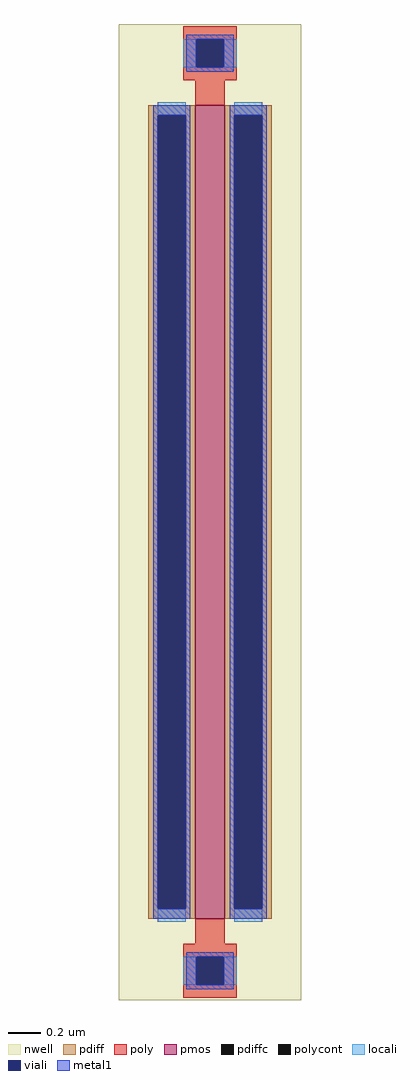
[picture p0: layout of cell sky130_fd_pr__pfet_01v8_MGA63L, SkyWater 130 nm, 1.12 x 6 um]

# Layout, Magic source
magic
tech sky130A
magscale 1 2
<< nwell >>
rect -112 -600 112 600
<< pmos >>
rect -18 -500 18 500
<< pdiff >>
rect -76 488 -18 500
rect -76 -488 -64 488
rect -30 -488 -18 488
rect -76 -500 -18 -488
rect 18 488 76 500
rect 18 -488 30 488
rect 64 -488 76 488
rect 18 -500 76 -488
<< pdiffc >>
rect -64 -488 -30 488
rect 30 -488 64 488
<< poly >>
rect -33 581 33 597
rect -33 547 -17 581
rect 17 547 33 581
rect -33 531 33 547
rect -18 500 18 531
rect -18 -531 18 -500
rect -33 -547 33 -531
rect -33 -581 -17 -547
rect 17 -581 33 -547
rect -33 -597 33 -581
<< polycont >>
rect -17 547 17 581
rect -17 -581 17 -547
<< locali >>
rect -33 547 -17 581
rect 17 547 33 581
rect -64 488 -30 504
rect -64 -504 -30 -488
rect 30 488 64 504
rect 30 -504 64 -488
rect -33 -581 -17 -547
rect 17 -581 33 -547
<< viali >>
rect -17 547 17 581
rect -64 -488 -30 488
rect 30 -488 64 488
rect -17 -581 17 -547
<< metal1 >>
rect -29 581 29 587
rect -29 547 -17 581
rect 17 547 29 581
rect -29 541 29 547
rect -70 488 -24 500
rect -70 -488 -64 488
rect -30 -488 -24 488
rect -70 -500 -24 -488
rect 24 488 70 500
rect 24 -488 30 488
rect 64 -488 70 488
rect 24 -500 70 -488
rect -29 -547 29 -541
rect -29 -581 -17 -547
rect 17 -581 29 -547
rect -29 -587 29 -581
<< properties >>
string gencell sky130_fd_pr__pfet_01v8
string library sky130
string parameters w 5.0 l 0.18 m 1 nf 1 diffcov 100 polycov 100 guard 0 glc 1 grc 1 gtc 1 gbc 1 tbcov 100 rlcov 100 topc 1 botc 1 poverlap 0 doverlap 1 lmin 0.15 wmin 0.42 compatible {sky130_fd_pr__pfet_01v8  sky130_fd_pr__pfet_01v8_lvt sky130_fd_pr__pfet_01v8_hvt  sky130_fd_pr__pfet_g5v0d10v5} full_metal 1 viasrc 100 viadrn 100 viagate 100 viagb 0 viagr 0 viagl 0 viagt 0
<< end >>
